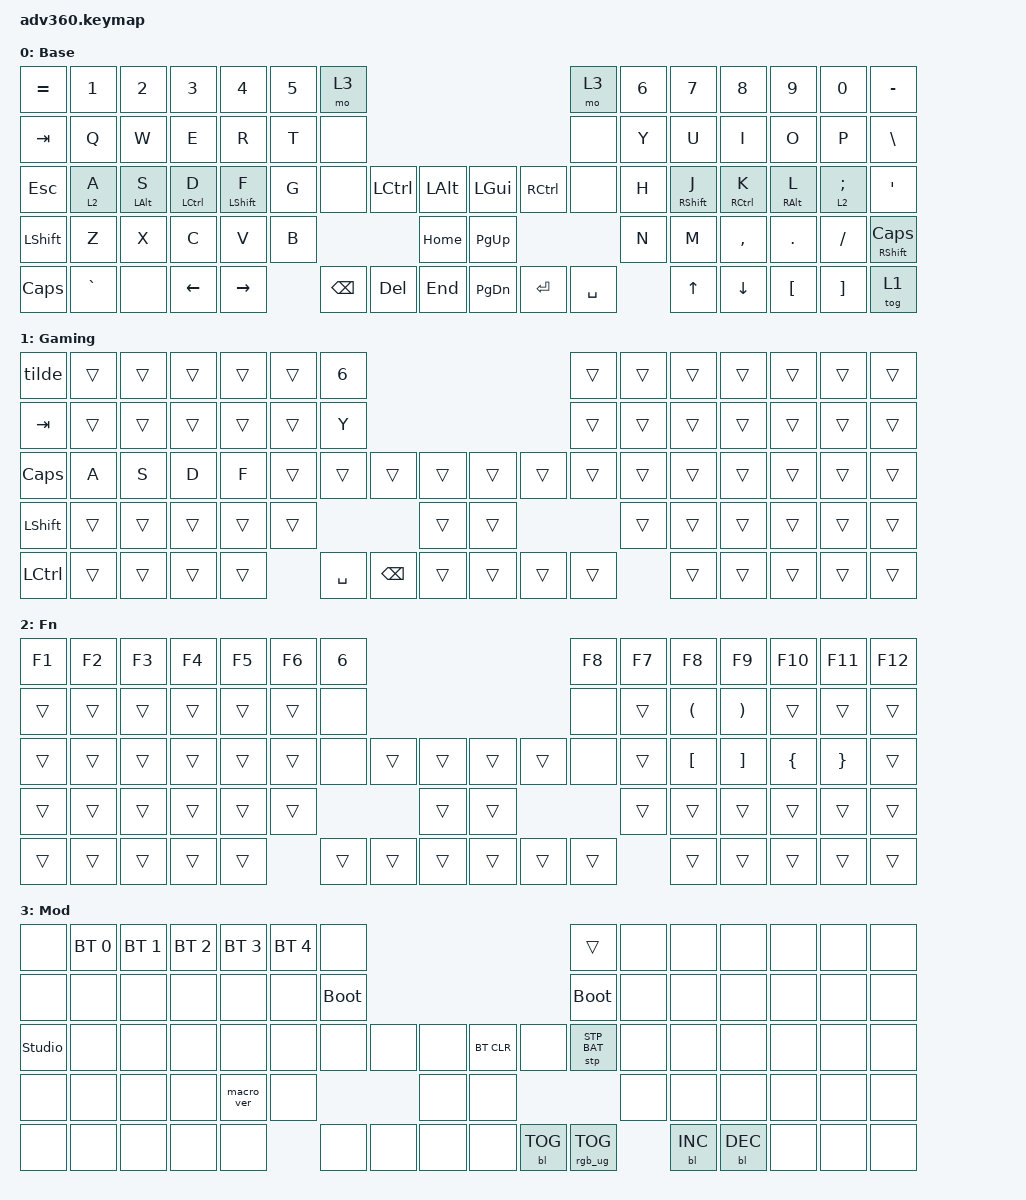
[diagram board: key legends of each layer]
#include <dt-bindings/zmk/stp.h>
#include <behaviors.dtsi>
#include <dt-bindings/zmk/backlight.h>
#include <dt-bindings/zmk/bt.h>
#include <dt-bindings/zmk/keys.h>
#include <dt-bindings/zmk/rgb.h>

/ {
    behaviors {
        #include "macros.dtsi"
      #include "version.dtsi"

        hm: homerow_mods {
            compatible = "zmk,behavior-hold-tap";
            label = "HOMEROW_MODS";
            #binding-cells = <2>;
            tapping-term-ms = <200>;
            quick_tap_ms = <175>;
            flavor = "tap-preferred";
            bindings = <&kp>, <&kp>;
        };

        tilde: tilde {
            compatible = "zmk,behavior-mod-morph";
            label = "TILDE";
            bindings = <&kp ESCAPE>, <&kp TILDE>;

            #binding-cells = <0>;
            mods = <(MOD_LSFT)>;
        };
    };

    keymap {
        compatible = "zmk,keymap";

        default_layer {
            display-name = "Base";
            bindings = <
&kp EQUAL     &kp N1     &kp N2          &kp N3       &kp N4            &kp N5  &mo 3                                                    &mo 3      &kp N6  &kp N7             &kp N8       &kp N9           &kp N0           &kp MINUS
&kp TAB       &kp Q      &kp W           &kp E        &kp R             &kp T   &none                                                    &none      &kp Y   &kp U              &kp I        &kp O            &kp P            &kp BSLH
&kp ESC       &lt 2 A    &hm LEFT_ALT S  &hm LCTRL D  &hm LEFT_SHIFT F  &kp G   &none     &kp LCTRL  &kp LALT      &kp LGUI   &kp RCTRL  &none      &kp H   &hm RIGHT_SHIFT J  &hm RCTRL K  &hm RIGHT_ALT L  &lt 2 SEMICOLON  &kp SQT
&kp LSHFT     &kp Z      &kp X           &kp C        &kp V             &kp B                        &kp HOME      &kp PG_UP                        &kp N   &kp M              &kp COMMA    &kp DOT          &kp FSLH         &mt RSHFT CAPSLOCK
&kp CAPSLOCK  &kp GRAVE  &none           &kp LEFT     &kp RIGHT                 &kp BSPC  &kp DEL    &kp END       &kp PG_DN  &kp ENTER  &kp SPACE          &kp UP             &kp DOWN     &kp LBKT         &kp RBKT         &tog 1
            >;
        };

        Gaming {
            bindings = <
&tilde     &trans  &trans  &trans  &trans  &trans  &kp N6                                           &trans  &trans  &trans  &trans  &trans  &trans  &trans
&kp TAB    &trans  &trans  &trans  &trans  &trans  &kp Y                                            &trans  &trans  &trans  &trans  &trans  &trans  &trans
&kp CAPS   &kp A   &kp S   &kp D   &kp F   &trans  &trans     &trans    &trans      &trans  &trans  &trans  &trans  &trans  &trans  &trans  &trans  &trans
&kp LSHFT  &trans  &trans  &trans  &trans  &trans                       &trans      &trans                  &trans  &trans  &trans  &trans  &trans  &trans
&kp LCTRL  &trans  &trans  &trans  &trans          &kp SPACE  &kp BSPC  &trans      &trans  &trans  &trans          &trans  &trans  &trans  &trans  &trans
            >;
        };

        fn {
            display-name = "Fn";
            bindings = <
&kp F1  &kp F2  &kp F3  &kp F4  &kp F5  &kp F6  &kp N6                                      &kp F8  &kp F7  &kp F8                &kp F9                 &kp F10         &kp F11          &kp F12
&trans  &trans  &trans  &trans  &trans  &trans  &none                                       &none   &trans  &kp LEFT_PARENTHESIS  &kp RIGHT_PARENTHESIS  &trans          &trans           &trans
&trans  &trans  &trans  &trans  &trans  &trans  &none   &trans  &trans      &trans  &trans  &none   &trans  &kp LBKT              &kp RBKT               &kp LEFT_BRACE  &kp RIGHT_BRACE  &trans
&trans  &trans  &trans  &trans  &trans  &trans                  &trans      &trans                  &trans  &trans                &trans                 &trans          &trans           &trans
&trans  &trans  &trans  &trans  &trans          &trans  &trans  &trans      &trans  &trans  &trans          &trans                &trans                 &trans          &trans           &trans
            >;
        };

        mod {
            display-name = "Mod";
            bindings = <
&none           &bt BT_SEL 0  &bt BT_SEL 1  &bt BT_SEL 2  &bt BT_SEL 3  &bt BT_SEL 4  &none                                                  &trans           &none  &none       &none       &none  &none  &none
&none           &none         &none         &none         &none         &none         &bootloader                                            &bootloader      &none  &none       &none       &none  &none  &none
&studio_unlock  &none         &none         &none         &none         &none         &none        &none  &none      &bt BT_CLR  &none       &stp STP_BAT     &none  &none       &none       &none  &none  &none
&none           &none         &none         &none         &macro_ver    &none                             &none      &none                                    &none  &none       &none       &none  &none  &none
&none           &none         &none         &none         &none                       &none        &none  &none      &none       &bl BL_TOG  &rgb_ug RGB_TOG         &bl BL_INC  &bl BL_DEC  &none  &none  &none
            >;
        };
    };
};
